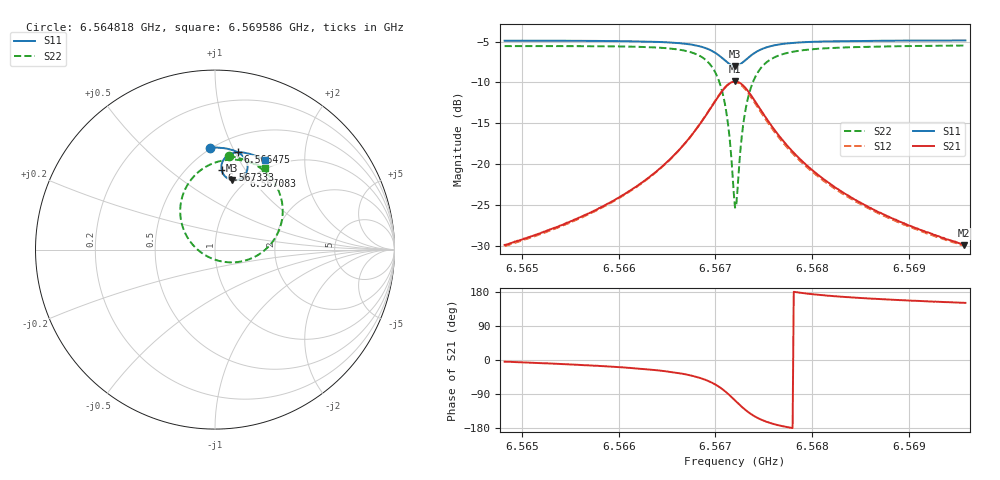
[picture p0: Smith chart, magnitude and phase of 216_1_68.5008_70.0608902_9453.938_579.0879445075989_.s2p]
#  HZ  S  RI  R  50.00
! Rohde & Schwarz Vector Network Analyzer
! Rohde-Schwarz,ZNB20-2Port,1311601062101988,3.16
! Created: UTC 3/20/2024, 5:13:21 PM
! freq[Hz]  re:S11  im:S11  re:S21  im:S21  re:S12  im:S12  re:S22  im:S22
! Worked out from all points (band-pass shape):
!   401 points, 6.564818 GHz to 6.569586 GHz, reference 50 ohm
!   highest |S21| = -9.89 dB at 6.567202 GHz (marker M1); lowest = -29.9 dB at 6.569574 GHz (marker M2)
!   |S21| within 3 dB of the highest: 6.566965 GHz to 6.567441 GHz (476 kHz wide, 0.00725 % of centre)
!   lowest |S11| = -8.0 dB at 6.567202 GHz (marker M3), VSWR 2.32, Z = 43.2 + j39.8 ohm
!   |S11| at or under -10 dB: nowhere
!   |S22| runs from -25.4 to -5.5 dB; largest |S21 - S12| = 0.016
!   S11 on the Smith chart (normalised r, x): 6.564818 GHz: 0.49, +0.83; 6.566475 GHz: 0.65, +1.03; 6.567083 GHz: 0.93, +0.94; 6.567333 GHz: 0.71, +0.79; 6.569586 GHz: 0.88, +1.30
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6.5648182e9  -0.0269 0.5684  0.0318 -0.00241  0.0313 -0.0028  0.0756 0.5214
6.5656167e9  0.0404 0.5663  0.0464 -0.0109  0.0456 -0.0114  0.1567 0.5026
6.5660219e9  0.078 0.5598  0.0598 -0.0209  0.0589 -0.0215  0.2091 0.4809
6.5664152e9  0.1199 0.5457  0.0822 -0.043  0.081 -0.0441  0.2768 0.4351
6.5664748e9  0.127 0.5421  0.0868 -0.049  0.0856 -0.0499  0.2895 0.4232
6.5667132e9  0.1576 0.5189  0.1089 -0.0883  0.1072 -0.0903  0.3458 0.3461
6.566892e9  0.1786 0.4818  0.12 -0.1534  0.117 -0.1569  0.3775 0.2205
6.5669992e9  0.1797 0.4436  0.1037 -0.2203  0.0977 -0.2249  0.3503 0.093
6.5670827e9  0.1606 0.4082  0.0538 -0.2809  0.043 -0.2843  0.2567 -0.0189
6.5671304e9  0.1379 0.3922  0.00343 -0.3062  -0.0102 -0.3067  0.1627 -0.0625
6.5671899e9  0.0998 0.3863  -0.0754 -0.3107  -0.09 -0.305  0.0197 -0.0624
6.5672019e9  0.092 0.3877  -0.0913 -0.3069  -0.1057 -0.2998  -0.00855 -0.0533
6.5672257e9  0.0768 0.393  -0.1216 -0.2946  -0.1349 -0.285  -0.0611 -0.0274
6.5672734e9  0.0525 0.4118  -0.1708 -0.2551  -0.18 -0.2422  -0.1416 0.0495
6.567333e9  0.0372 0.4429  -0.2037 -0.1938  -0.2073 -0.1801  -0.189 0.1617
6.5674283e9  0.0406 0.4866  -0.2054 -0.1095  -0.2035 -0.0989  -0.1776 0.3088
6.5675713e9  0.068 0.5223  -0.1693 -0.04  -0.1656 -0.0342  -0.1001 0.4255
6.5677382e9  0.1001 0.5379  -0.1301 -0.00698  -0.1268 -0.00398  -0.0187 0.4776
6.5680004e9  0.1391 0.5423  -0.0912 0.0101  -0.0888 0.0114  0.0675 0.4996
6.5687989e9  0.2191 0.525  -0.0444 0.0167  -0.0433 0.0169  0.2008 0.4854
6.5695737e9  0.2788 0.498  -0.0278 0.0155  -0.0274 0.0157  0.2755 0.4541
6.5695856e9  0.2797 0.4975  -0.0278 0.0156  -0.0271 0.0158  0.2766 0.4537
